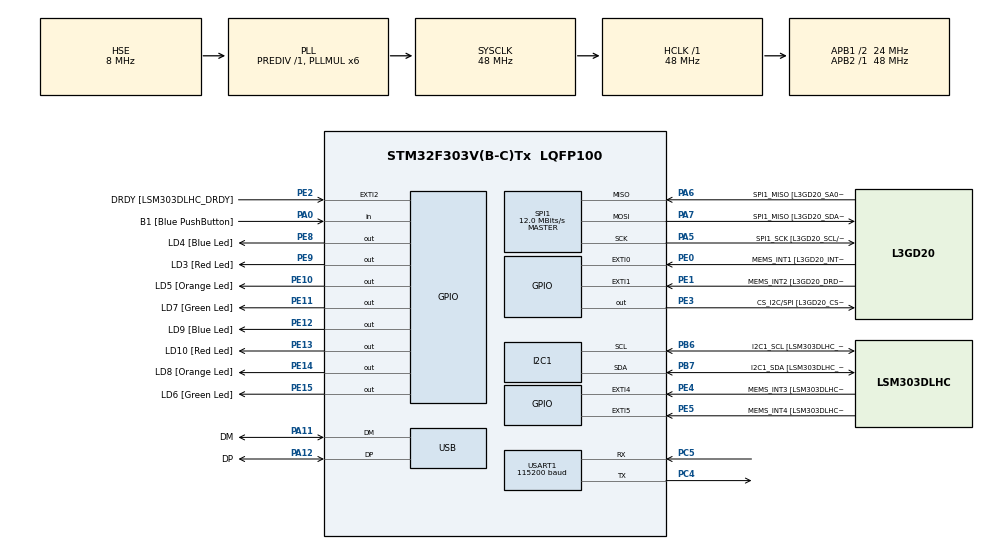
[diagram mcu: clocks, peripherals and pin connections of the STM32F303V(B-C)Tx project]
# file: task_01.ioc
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I2C1.Timing=0x2000090E
I2C1.Timing-I2C=0x2000090E
Mcu.Family=STM32F3
Mcu.Name=STM32F303V(B-C)Tx
Mcu.Package=LQFP100
NVIC.PriorityGroup=NVIC_PRIORITYGROUP_0
PA0.GPIO_Label=B1 [Blue PushButton]
PA0.Signal=GPIO_Input
PA11.GPIO_Label=DM
PA11.Mode=Device
PA11.Signal=USB_DM
PA12.GPIO_Label=DP
PA12.Mode=Device
PA12.Signal=USB_DP
PA13.GPIO_Label=SWDIO
PA13.Signal=SYS_JTMS-SWDIO
PA14.GPIO_Label=SWCLK
PA14.Signal=SYS_JTCK-SWCLK
PA5.GPIO_Label=SPI1_SCK [L3GD20_SCL/SPC]
PA5.Mode=Full_Duplex_Master
PA5.Signal=SPI1_SCK
PA6.GPIO_Label=SPI1_MISO [L3GD20_SA0/SDO]
PA6.Mode=Full_Duplex_Master
PA6.Signal=SPI1_MISO
PA7.GPIO_Label=SPI1_MISO [L3GD20_SDA/SDI/SDO]
PA7.Mode=Full_Duplex_Master
PA7.Signal=SPI1_MOSI
PB3.GPIO_Label=SWO
PB3.Signal=SYS_JTDO-TRACESWO
PB6.GPIO_Label=I2C1_SCL [LSM303DLHC_SCL]
PB6.GPIO_Pu=GPIO_PULLUP
PB6.Mode=I2C
PB6.Signal=I2C1_SCL
PB7.GPIO_Label=I2C1_SDA [LSM303DLHC_SDA]
PB7.GPIO_Pu=GPIO_PULLUP
PB7.Mode=I2C
PB7.Signal=I2C1_SDA
PC14-OSC32_IN.GPIO_Label=OSC32_IN
PC14-OSC32_IN.Signal=RCC_OSC32_IN
PC15-OSC32_OUT.GPIO_Label=OSC32_OUT
PC15-OSC32_OUT.Signal=RCC_OSC32_OUT
PC4.Mode=Asynchronous
PC4.Signal=USART1_TX
PC5.Mode=Asynchronous
PC5.Signal=USART1_RX
PE0.GPIO_Label=MEMS_INT1 [L3GD20_INT1]
PE0.GPIO_ModeDefaultEXTI=GPIO_MODE_EVT_RISING
PE0.Signal=GPXTI0
PE1.GPIO_Label=MEMS_INT2 [L3GD20_DRDY/INT2]
PE1.GPIO_ModeDefaultEXTI=GPIO_MODE_EVT_RISING
PE1.Signal=GPXTI1
PE10.GPIO_Label=LD5 [Orange Led]
PE10.Signal=GPIO_Output
PE11.GPIO_Label=LD7 [Green Led]
PE11.Signal=GPIO_Output
PE12.GPIO_Label=LD9 [Blue Led]
PE12.Signal=GPIO_Output
PE13.GPIO_Label=LD10 [Red Led]
PE13.Signal=GPIO_Output
PE14.GPIO_Label=LD8 [Orange Led]
PE14.Signal=GPIO_Output
PE15.GPIO_Label=LD6 [Green Led]
PE15.Signal=GPIO_Output
PE2.GPIO_Label=DRDY [LSM303DLHC_DRDY]
PE2.GPIO_ModeDefaultEXTI=GPIO_MODE_EVT_RISING
PE2.Signal=GPXTI2
PE3.GPIO_Label=CS_I2C/SPI [L3GD20_CS_I2C/SPI]
PE3.Signal=GPIO_Output
PE4.GPIO_Label=MEMS_INT3 [LSM303DLHC_INT1]
PE4.GPIO_ModeDefaultEXTI=GPIO_MODE_EVT_RISING
PE4.Signal=GPXTI4
PE5.GPIO_Label=MEMS_INT4 [LSM303DLHC_INT2]
PE5.GPIO_ModeDefaultEXTI=GPIO_MODE_EVT_RISING
PE5.Signal=GPXTI5
PE8.GPIO_Label=LD4 [Blue Led]
PE8.Signal=GPIO_Output
PE9.GPIO_Label=LD3 [Red Led]
PE9.Signal=GPIO_Output
PF0-OSC_IN.GPIO_Label=OSC_IN
PF0-OSC_IN.Mode=HSE-External-Clock-Source
PF0-OSC_IN.Signal=RCC_OSC_IN
PF1-OSC_OUT.GPIO_Label=OSC_OUT
PF1-OSC_OUT.Signal=RCC_OSC_OUT
ProjectManager.HeapSize=0x200
ProjectManager.StackSize=0x400
ProjectManager.TargetToolchain=CMake
RCC.AHBFreq_Value=48000000
RCC.APB1CLKDivider=RCC_HCLK_DIV2
RCC.APB1Freq_Value=24000000
RCC.APB1TimFreq_Value=48000000
RCC.APB2Freq_Value=48000000
RCC.APB2TimFreq_Value=48000000
RCC.CortexFreq_Value=48000000
RCC.HCLKFreq_Value=48000000
RCC.HSE_VALUE=8000000
RCC.HSI_VALUE=8000000
RCC.LSE_VALUE=32768
RCC.PLLMUL=RCC_PLL_MUL6
RCC.SYSCLKFreq_VALUE=48000000
RCC.SYSCLKSourceVirtual=RCC_SYSCLKSOURCE_PLLCLK
RCC.USBFreq_Value=48000000
SPI1.BaudRatePrescaler=SPI_BAUDRATEPRESCALER_4
SPI1.BaudRatePrescaler-Full_Duplex_Master=SPI_BAUDRATEPRESCALER_2
SPI1.CalculateBaudRate=12.0 MBits/s
SPI1.CalculateBaudRate-Full_Duplex_Master=24.0 MBits/s
SPI1.Direction=SPI_DIRECTION_2LINES
SPI1.Mode=SPI_MODE_MASTER
SPI1.Mode-Full_Duplex_Master=SPI_MODE_MASTER
SPI1.VirtualType=VM_MASTER
USART1.BaudRate=115200
USART1.VirtualMode-Asynchronous=VM_ASYNC
board=STM32F3DISCOVERY

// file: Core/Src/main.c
/* USER CODE BEGIN Header */
/**
  ******************************************************************************
  * @file           : main.c
  * @brief          : Main program body
  ******************************************************************************
  * @attention
  *
  * Copyright (c) 2026 STMicroelectronics.
  * All rights reserved.
  *
  * This software is licensed under terms that can be found in the LICENSE file
  * in the root directory of this software component.
  * If no LICENSE file comes with this software, it is provided AS-IS.
  *
  ******************************************************************************
  */
/* USER CODE END Header */
#include "main.h"

/* USER CODE BEGIN Includes */
#include <stdio.h>
#include <math.h>
#include <string.h>
/* USER CODE END Includes */

I2C_HandleTypeDef hi2c1;

SPI_HandleTypeDef hspi1;

UART_HandleTypeDef huart1;

PCD_HandleTypeDef hpcd_USB_FS;

void SystemClock_Config(void);
static void MX_GPIO_Init(void);
static void MX_I2C1_Init(void);
static void MX_SPI1_Init(void);
static void MX_USART1_UART_Init(void);
static void MX_USB_PCD_Init(void);

/* USER CODE BEGIN 0 */
float current_angle = 0.0f;
float dt = 0.1f;

void Init_Onboard_Sensors(void) {
    uint8_t accel_init_data[2] = {0x20, 0x77};
    HAL_I2C_Master_Transmit(&hi2c1, (uint16_t)(0x19 << 1), accel_init_data, 2, 100);

    uint8_t gyro_init_tx[2] = {0x20, 0x0F};

    HAL_GPIO_WritePin(GPIOE, GPIO_PIN_3, GPIO_PIN_RESET);
    HAL_SPI_Transmit(&hspi1, gyro_init_tx, 2, 100);
    HAL_GPIO_WritePin(GPIOE, GPIO_PIN_3, GPIO_PIN_SET);
}
/* USER CODE END 0 */

int main(void)
{

  /* MCU Configuration--------------------------------------------------------*/

  /* Reset of all peripherals, Initializes the Flash interface and the Systick. */
  HAL_Init();

  /* Configure the system clock */
  SystemClock_Config();

  /* Initialize all configured peripherals */
  MX_GPIO_Init();
  MX_I2C1_Init();
  MX_SPI1_Init();
  MX_USART1_UART_Init();
  MX_USB_PCD_Init();
  /* USER CODE BEGIN 2 */
  Init_Onboard_Sensors();
  /* USER CODE END 2 */

  /* Infinite loop */
  while (1)
  {

    /* USER CODE BEGIN 3 */
    uint8_t accel_rx[6];
    HAL_I2C_Mem_Read(&hi2c1, (uint16_t)(0x19 << 1), (0x28 | 0x80), I2C_MEMADD_SIZE_8BIT, accel_rx, 6, 100);

    int16_t raw_acc_x = (int16_t)((accel_rx[1] << 8) | accel_rx[0]);
    int16_t raw_acc_z = (int16_t)((accel_rx[5] << 8) | accel_rx[4]);

    float acc_angle = atan2((float)raw_acc_x, (float)raw_acc_z) * (180.0f / 3.14159f);

    uint8_t gyro_tx[3] = {0xE8, 0x00, 0x00};
    uint8_t gyro_rx[3] = {0};

    HAL_GPIO_WritePin(GPIOE, GPIO_PIN_3, GPIO_PIN_RESET);
    HAL_SPI_TransmitReceive(&hspi1, gyro_tx, gyro_rx, 3, 100);
    HAL_GPIO_WritePin(GPIOE, GPIO_PIN_3, GPIO_PIN_SET);

    int16_t raw_gyro_x = (int16_t)((gyro_rx[2] << 8) | gyro_rx[1]);
    float gyro_rate_x = (float)raw_gyro_x * 0.00875f;

    current_angle = 0.98f * (current_angle + (gyro_rate_x * dt)) + (0.02f * acc_angle);

    char tx_buffer[64];
    sprintf(tx_buffer, "%.2f,%.2f,%.2f\r\n", acc_angle, gyro_rate_x, current_angle);

    HAL_UART_Transmit(&huart1, (uint8_t*)tx_buffer, strlen(tx_buffer), 100);

    HAL_Delay(100);
  }
  /* USER CODE END 3 */
}

void SystemClock_Config(void)
{
  RCC_OscInitTypeDef RCC_OscInitStruct = {0};
  RCC_ClkInitTypeDef RCC_ClkInitStruct = {0};
  RCC_PeriphCLKInitTypeDef PeriphClkInit = {0};

  /** Initializes the RCC Oscillators according to the specified parameters
  * in the RCC_OscInitTypeDef structure.
  */
  RCC_OscInitStruct.OscillatorType = RCC_OSCILLATORTYPE_HSI|RCC_OSCILLATORTYPE_HSE;
  RCC_OscInitStruct.HSEState = RCC_HSE_BYPASS;
  RCC_OscInitStruct.HSEPredivValue = RCC_HSE_PREDIV_DIV1;
  RCC_OscInitStruct.HSIState = RCC_HSI_ON;
  RCC_OscInitStruct.HSICalibrationValue = RCC_HSICALIBRATION_DEFAULT;
  RCC_OscInitStruct.PLL.PLLState = RCC_PLL_ON;
  RCC_OscInitStruct.PLL.PLLSource = RCC_PLLSOURCE_HSE;
  RCC_OscInitStruct.PLL.PLLMUL = RCC_PLL_MUL6;
  if (HAL_RCC_OscConfig(&RCC_OscInitStruct) != HAL_OK)
  {
    Error_Handler();
  }

  /** Initializes the CPU, AHB and APB buses clocks
  */
  RCC_ClkInitStruct.ClockType = RCC_CLOCKTYPE_HCLK|RCC_CLOCKTYPE_SYSCLK
                              |RCC_CLOCKTYPE_PCLK1|RCC_CLOCKTYPE_PCLK2;
  RCC_ClkInitStruct.SYSCLKSource = RCC_SYSCLKSOURCE_PLLCLK;
  RCC_ClkInitStruct.AHBCLKDivider = RCC_SYSCLK_DIV1;
  RCC_ClkInitStruct.APB1CLKDivider = RCC_HCLK_DIV2;
  RCC_ClkInitStruct.APB2CLKDivider = RCC_HCLK_DIV1;

  if (HAL_RCC_ClockConfig(&RCC_ClkInitStruct, FLASH_LATENCY_1) != HAL_OK)
  {
    Error_Handler();
  }
  PeriphClkInit.PeriphClockSelection = RCC_PERIPHCLK_USB|RCC_PERIPHCLK_USART1
                              |RCC_PERIPHCLK_I2C1;
  PeriphClkInit.Usart1ClockSelection = RCC_USART1CLKSOURCE_PCLK2;
  PeriphClkInit.I2c1ClockSelection = RCC_I2C1CLKSOURCE_HSI;
  PeriphClkInit.USBClockSelection = RCC_USBCLKSOURCE_PLL;
  if (HAL_RCCEx_PeriphCLKConfig(&PeriphClkInit) != HAL_OK)
  {
    Error_Handler();
  }
}

static void MX_I2C1_Init(void)
{

  hi2c1.Instance = I2C1;
  hi2c1.Init.Timing = 0x2000090E;
  hi2c1.Init.OwnAddress1 = 0;
  hi2c1.Init.AddressingMode = I2C_ADDRESSINGMODE_7BIT;
  hi2c1.Init.DualAddressMode = I2C_DUALADDRESS_DISABLE;
  hi2c1.Init.OwnAddress2 = 0;
  hi2c1.Init.OwnAddress2Masks = I2C_OA2_NOMASK;
  hi2c1.Init.GeneralCallMode = I2C_GENERALCALL_DISABLE;
  hi2c1.Init.NoStretchMode = I2C_NOSTRETCH_DISABLE;
  if (HAL_I2C_Init(&hi2c1) != HAL_OK)
  {
    Error_Handler();
  }

  /** Configure Analogue filter
  */
  if (HAL_I2CEx_ConfigAnalogFilter(&hi2c1, I2C_ANALOGFILTER_ENABLE) != HAL_OK)
  {
    Error_Handler();
  }

  /** Configure Digital filter
  */
  if (HAL_I2CEx_ConfigDigitalFilter(&hi2c1, 0) != HAL_OK)
  {
    Error_Handler();
  }

}

static void MX_SPI1_Init(void)
{

  /* SPI1 parameter configuration*/
  hspi1.Instance = SPI1;
  hspi1.Init.Mode = SPI_MODE_MASTER;
  hspi1.Init.Direction = SPI_DIRECTION_2LINES;
  hspi1.Init.DataSize = SPI_DATASIZE_8BIT;
  hspi1.Init.CLKPolarity = SPI_POLARITY_LOW;
  hspi1.Init.CLKPhase = SPI_PHASE_1EDGE;
  hspi1.Init.NSS = SPI_NSS_SOFT;
  hspi1.Init.BaudRatePrescaler = SPI_BAUDRATEPRESCALER_4;
  hspi1.Init.FirstBit = SPI_FIRSTBIT_MSB;
  hspi1.Init.TIMode = SPI_TIMODE_DISABLE;
  hspi1.Init.CRCCalculation = SPI_CRCCALCULATION_DISABLE;
  hspi1.Init.CRCPolynomial = 7;
  hspi1.Init.CRCLength = SPI_CRC_LENGTH_DATASIZE;
  hspi1.Init.NSSPMode = SPI_NSS_PULSE_ENABLE;
  if (HAL_SPI_Init(&hspi1) != HAL_OK)
  {
    Error_Handler();
  }

}

static void MX_USART1_UART_Init(void)
{

  huart1.Instance = USART1;
  huart1.Init.BaudRate = 115200;
  huart1.Init.WordLength = UART_WORDLENGTH_8B;
  huart1.Init.StopBits = UART_STOPBITS_1;
  huart1.Init.Parity = UART_PARITY_NONE;
  huart1.Init.Mode = UART_MODE_TX_RX;
  huart1.Init.HwFlowCtl = UART_HWCONTROL_NONE;
  huart1.Init.OverSampling = UART_OVERSAMPLING_16;
  huart1.Init.OneBitSampling = UART_ONE_BIT_SAMPLE_DISABLE;
  huart1.AdvancedInit.AdvFeatureInit = UART_ADVFEATURE_NO_INIT;
  if (HAL_UART_Init(&huart1) != HAL_OK)
  {
    Error_Handler();
  }

}

static void MX_USB_PCD_Init(void)
{

  hpcd_USB_FS.Instance = USB;
  hpcd_USB_FS.Init.dev_endpoints = 8;
  hpcd_USB_FS.Init.speed = PCD_SPEED_FULL;
  hpcd_USB_FS.Init.phy_itface = PCD_PHY_EMBEDDED;
  hpcd_USB_FS.Init.low_power_enable = DISABLE;
  hpcd_USB_FS.Init.battery_charging_enable = DISABLE;
  if (HAL_PCD_Init(&hpcd_USB_FS) != HAL_OK)
  {
    Error_Handler();
  }

}

static void MX_GPIO_Init(void)
{
  GPIO_InitTypeDef GPIO_InitStruct = {0};

  /* GPIO Ports Clock Enable */
  __HAL_RCC_GPIOE_CLK_ENABLE();
  __HAL_RCC_GPIOC_CLK_ENABLE();
  __HAL_RCC_GPIOF_CLK_ENABLE();
  __HAL_RCC_GPIOA_CLK_ENABLE();
  __HAL_RCC_GPIOB_CLK_ENABLE();

  /*Configure GPIO pin Output Level */
  HAL_GPIO_WritePin(GPIOE, CS_I2C_SPI_Pin|LD4_Pin|LD3_Pin|LD5_Pin
                          |LD7_Pin|LD9_Pin|LD10_Pin|LD8_Pin
                          |LD6_Pin, GPIO_PIN_RESET);

  /*Configure GPIO pins : DRDY_Pin MEMS_INT3_Pin MEMS_INT4_Pin MEMS_INT1_Pin
                           MEMS_INT2_Pin */
  GPIO_InitStruct.Pin = DRDY_Pin|MEMS_INT3_Pin|MEMS_INT4_Pin|MEMS_INT1_Pin
                          |MEMS_INT2_Pin;
  GPIO_InitStruct.Mode = GPIO_MODE_EVT_RISING;
  GPIO_InitStruct.Pull = GPIO_NOPULL;
  HAL_GPIO_Init(GPIOE, &GPIO_InitStruct);

  /*Configure GPIO pins : CS_I2C_SPI_Pin LD4_Pin LD3_Pin LD5_Pin
                           LD7_Pin LD9_Pin LD10_Pin LD8_Pin
                           LD6_Pin */
  GPIO_InitStruct.Pin = CS_I2C_SPI_Pin|LD4_Pin|LD3_Pin|LD5_Pin
                          |LD7_Pin|LD9_Pin|LD10_Pin|LD8_Pin
                          |LD6_Pin;
  GPIO_InitStruct.Mode = GPIO_MODE_OUTPUT_PP;
  GPIO_InitStruct.Pull = GPIO_NOPULL;
  GPIO_InitStruct.Speed = GPIO_SPEED_FREQ_LOW;
  HAL_GPIO_Init(GPIOE, &GPIO_InitStruct);

  /*Configure GPIO pin : B1_Pin */
  GPIO_InitStruct.Pin = B1_Pin;
  GPIO_InitStruct.Mode = GPIO_MODE_INPUT;
  GPIO_InitStruct.Pull = GPIO_NOPULL;
  HAL_GPIO_Init(B1_GPIO_Port, &GPIO_InitStruct);

}

void Error_Handler(void)
{
  __disable_irq();
  while (1)
  {
  }
}
